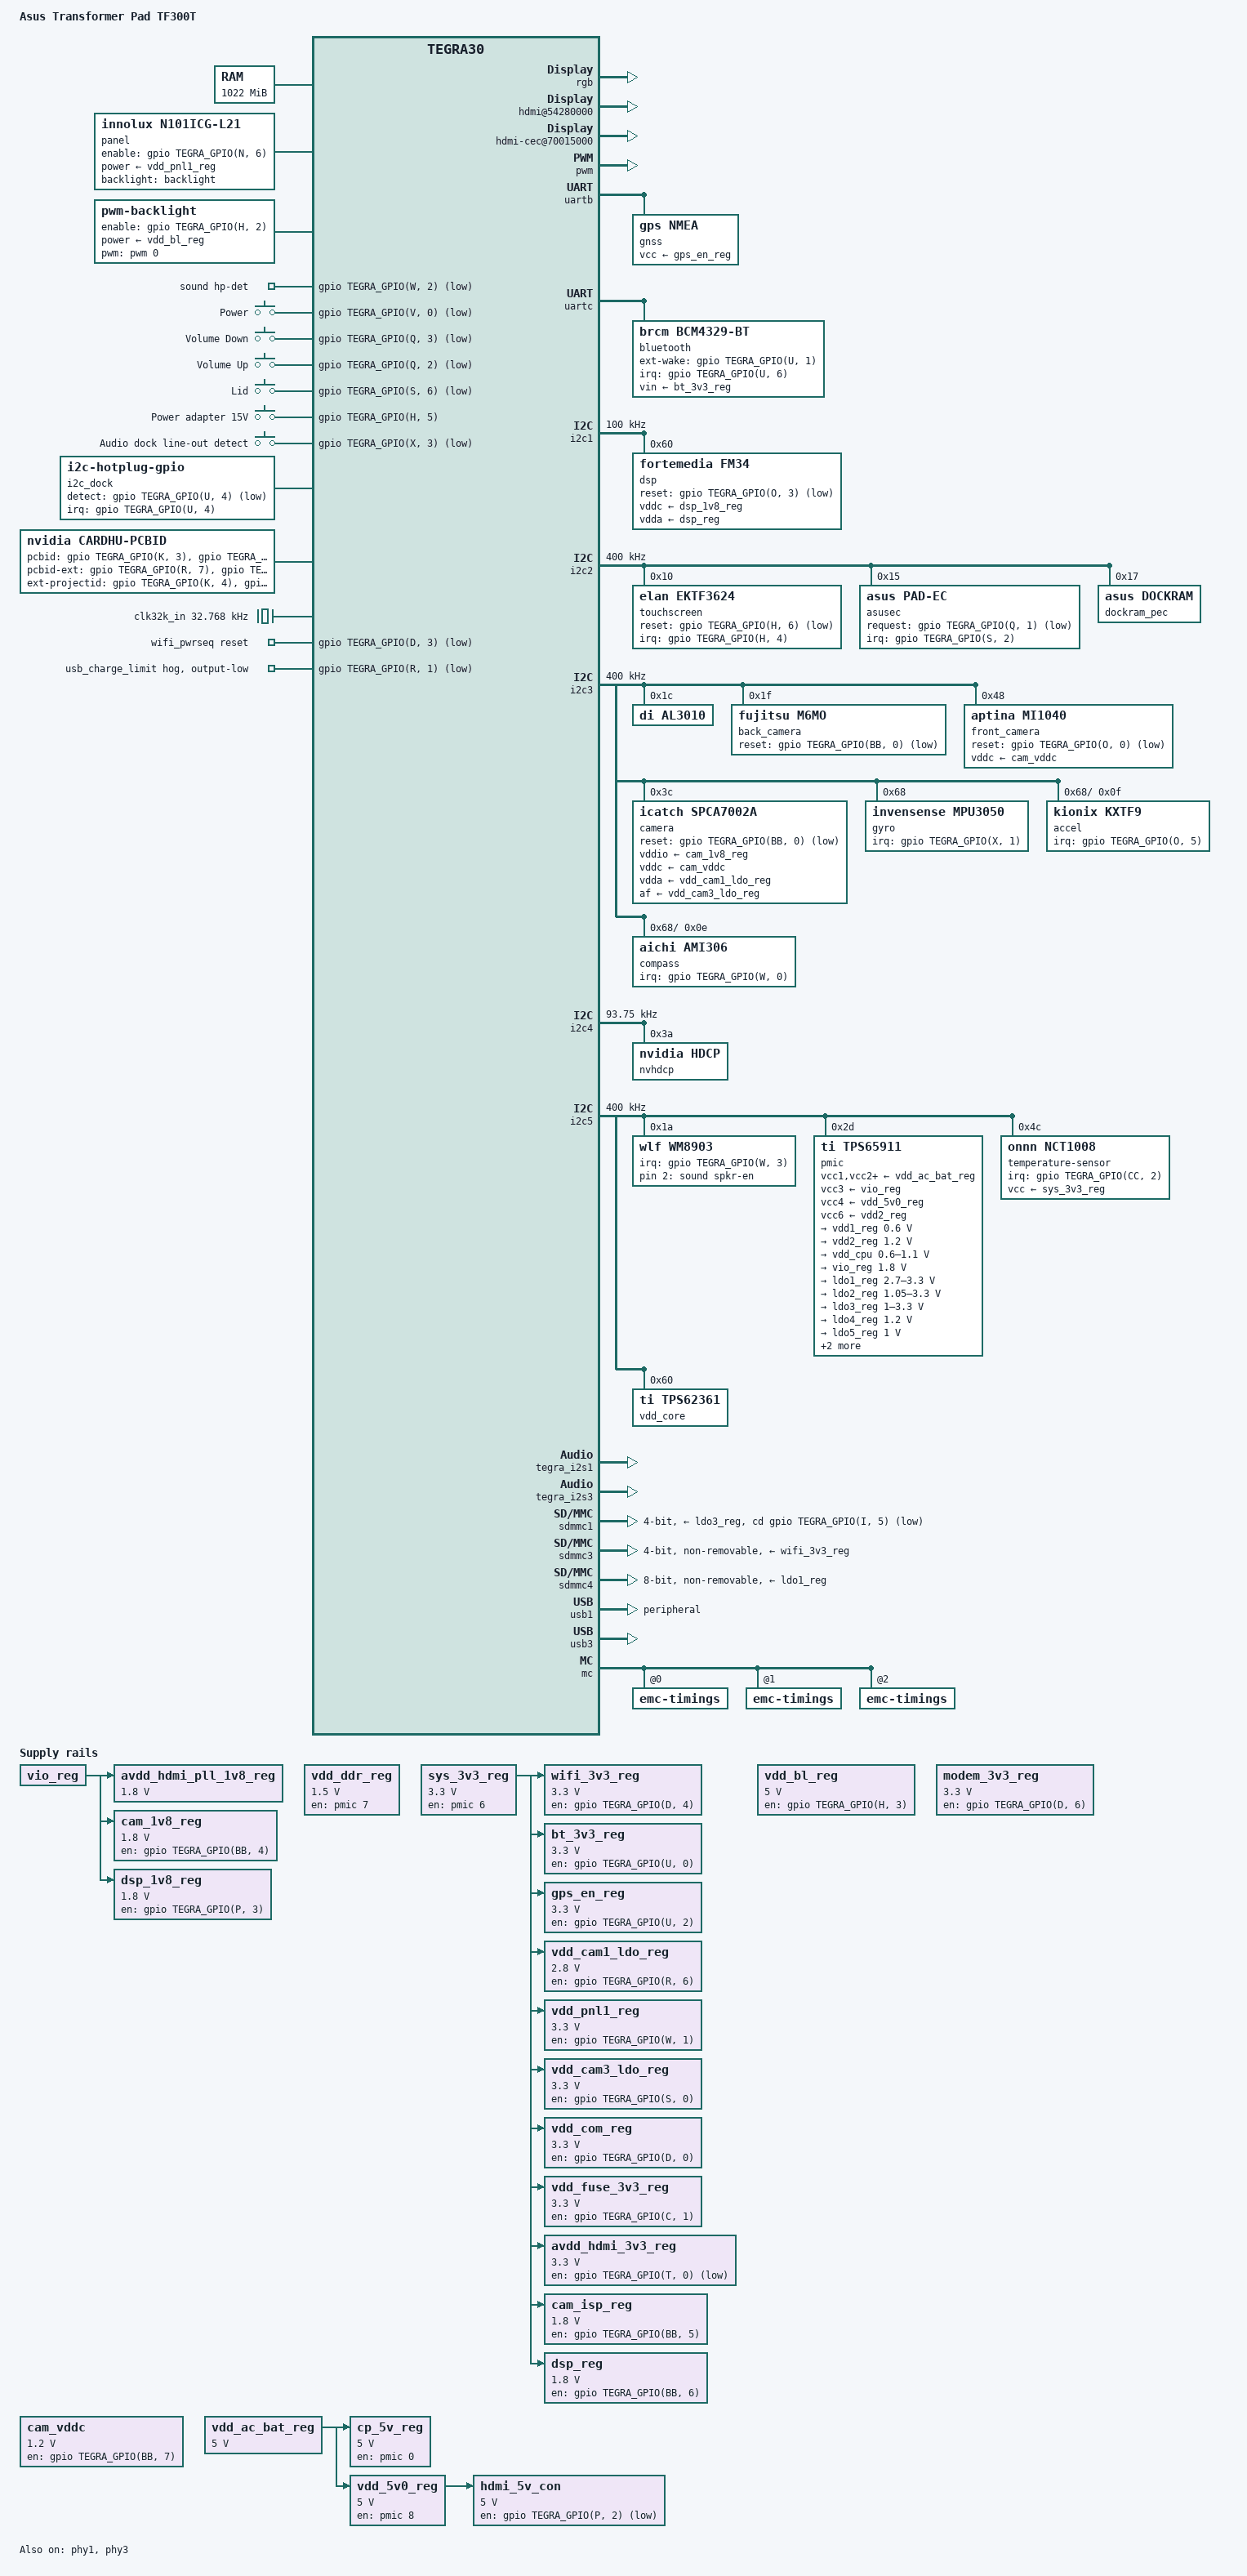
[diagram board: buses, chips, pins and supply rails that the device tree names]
/dts-v1/;

/* This dts file describes the Asus Transformer Pad TF300T tablet */
/* CPU-speedo 5, CPU-process 2, SoC-speedo 2, Core-process 0 */

#include <dt-bindings/input/input.h>
#include "tegra30.dtsi"
#include "tegra30-cpu-opp-5-2.dtsi"

/ {
	model = "Asus Transformer Pad TF300T";
	compatible = "asus,tf300t", "nvidia,tegra30";

	aliases {
		rtc0 = &pmic;
		rtc1 = "/rtc@7000e000";
		display0 = &lcd;
		display1 = &hdmi;
		serial0 = &uartc;
		serial1 = &uartb;
		mmc0 = &sdmmc4;	/* eMMC */
		mmc1 = &sdmmc1; /* uSD slot */
		mmc2 = &sdmmc3; /* WiFi */
	};

	chosen {
		#address-cells = <1>;
		#size-cells = <1>;
		ranges;

		bootargs = "tegra_wdt.heartbeat=30 androidboot.selinux=permissive androidboot.hardware=cardhu tegraid=30.1.3.0.0 commchip_id=0 androidboot.serialno=015d15b4da27f206 androidboot.commchip_id=0 no_console_suspend=1 usbcore.old_scheme_first=1 core_edp_mv=0 audio_codec=wm8903 board_info=245:0:1c:a7:29 tegraboot=sdmmc gpt gpt_sector=62078975 modem_id=0 android.kerneltype=normal androidboot.productid=0x02 androidboot.carrier=wifi-only";
		stdout-path = "display0";

		framebuffer@abc01000 {
			compatible = "simple-framebuffer";
			reg = <0xabc01000 0x3e8a00>;
			width = <1280>;
			height = <800>;
			stride = <2560>;
			format = "r5g6b5";
			display = <&lcd>;
			clocks = <&tegra_car TEGRA30_CLK_DISP1>,
				 <&tegra_car TEGRA30_CLK_PWM>;
			panel-supply = <&vdd_pnl1_reg>;
			backlight-supply = <&vdd_bl_reg>;
		};
	};

	memory@80000000 {
		// last 2MB reserved by TF firmware
		reg = <0x80000000 0x3fe00000>;
	};

	firmware {
		trusted-foundations {
			compatible = "tlm,trusted-foundations";
			tlm,version-major = <2>;
			tlm,version-minor = <8>;
		};
	};

	reserved-memory {
		#address-cells = <1>;
		#size-cells = <1>;
		ranges;

		framebuffer@abc01000 {
			reg = <0xabc01000 0x3e9000>;
			no-map;
		};

		ramconsole@beb00000 {
			compatible = "ramoops";
			reg = <0xbeb00000 0x100000>;
			record-size = <0x00020000>;
			console-size = <0x00040000>;
			ftrace-size = <0x00040000>;
			ecc-size = <16>;
		};

		lp0_vec@bddf9000 {
			reg = <0xbddf9000 0x2000>;	// passed from bootloader (ATAGS/NVIDIA, cmdline)
		};
/*
		reserved@bddf6000 {
			reg = <0xbddf6000 0x2000>;	// passed from bootloader (ATAGS/NVIDIA)
		};
*/	};

	panel: panel {
		compatible = "innolux,n101icg-l21", "innolux,g101ice-l01", "simple-panel";

		power-supply = <&vdd_pnl1_reg>;
		enable-gpios = <&gpio TEGRA_GPIO(N, 6) GPIO_ACTIVE_HIGH>;

		backlight = <&backlight>;
	};

	backlight: backlight {
		compatible = "pwm-backlight";

		enable-gpios = <&gpio TEGRA_GPIO(H, 2) GPIO_ACTIVE_HIGH>;
		power-supply = <&vdd_bl_reg>;
		pwms = <&pwm 0 5000000>;

		brightness-levels = <2 4 8 16 32 64 128 255>;
		default-brightness-level = <6>;
	};

	sound {
		compatible = "asus,tf300t-audio",
			     "nvidia,tegra-audio-wm8903";
		nvidia,model = "ASUS TF300T";

		nvidia,audio-routing =
			"Headphone Jack", "HPOUTR",
			"Headphone Jack", "HPOUTL",
			"Int Spk", "ROP",
			"Int Spk", "RON",
			"Int Spk", "LOP",
			"Int Spk", "LON",
			"Mic Jack", "MICBIAS",
			"IN1L", "Mic Jack";

		nvidia,i2s-controller = <&tegra_i2s1>;
		nvidia,audio-codec = <&wm8903>;

		// speaker power: vdd_5v0_reg
		nvidia,spkr-en-gpios = <&wm8903 2 GPIO_ACTIVE_HIGH>;
		nvidia,hp-det-gpios = <&gpio TEGRA_GPIO(W, 2) GPIO_ACTIVE_LOW>;	// h2w_detect, in, hi

		clocks = <&tegra_car TEGRA30_CLK_PLL_A>,
			 <&tegra_car TEGRA30_CLK_PLL_A_OUT0>,
			 <&tegra_car TEGRA30_CLK_EXTERN1>;
		clock-names = "pll_a", "pll_a_out0", "mclk";
	};

	pad-buttons {
		compatible = "gpio-keys";

		power {
			label = "Power";
			gpios = <&gpio TEGRA_GPIO(V, 0) GPIO_ACTIVE_LOW>;	// KEY_POWER, in, hi
			interrupt-parent = <&gpio>;
			interrupts = <TEGRA_GPIO(V, 0) IRQ_TYPE_EDGE_BOTH>;
			linux,code = <KEY_POWER>;
			debounce-interval = <10>;
			wakeup-source;
		};

		volume-down {
			label = "Volume Down";
			gpios = <&gpio TEGRA_GPIO(Q, 3) GPIO_ACTIVE_LOW>;	// KEY_VOLUMEDOWN, in, hi
			interrupt-parent = <&gpio>;
			interrupts = <TEGRA_GPIO(Q, 3) IRQ_TYPE_EDGE_BOTH>;
			linux,code = <KEY_VOLUMEDOWN>;
			debounce-interval = <10>;
			wakeup-source;
		};

		volume-up {
			label = "Volume Up";
			gpios = <&gpio TEGRA_GPIO(Q, 2) GPIO_ACTIVE_LOW>;	// KEY_VOLUMEUP, in, hi
			interrupt-parent = <&gpio>;
			interrupts = <TEGRA_GPIO(Q, 2) IRQ_TYPE_EDGE_BOTH>;
			linux,code = <KEY_VOLUMEUP>;
			debounce-interval = <10>;
			wakeup-source;
		};
	};

	extcon-keys {
		compatible = "gpio-keys";

		dock-hall-sensor {
			label = "Lid";
			gpios = <&gpio TEGRA_GPIO(S, 6) GPIO_ACTIVE_LOW>;	// asusdec_hall_sensor, in, hi [open]
			interrupt-parent = <&gpio>;
			interrupts = <TEGRA_GPIO(S, 6) IRQ_TYPE_EDGE_BOTH>;
			linux,input-type = <EV_SW>;
			linux,code = <SW_LID>;
			debounce-interval = <10>;
			wakeup-source;
		};

		ac-15v {
			label = "Power adapter 15V";
			gpios = <&gpio TEGRA_GPIO(H, 5) GPIO_ACTIVE_HIGH>;	// LIMIT_SET1, in, lo [usb: pc]
			interrupt-parent = <&gpio>;
			interrupts = <TEGRA_GPIO(H, 5) IRQ_TYPE_EDGE_BOTH>;
			linux,input-type = <EV_SW>;
			linux,code = <SW_DOCK>;
			debounce-interval = <10>;
			wakeup-source;
		};

		lineout-detect {
			label = "Audio dock line-out detect";
			gpios = <&gpio TEGRA_GPIO(X, 3) GPIO_ACTIVE_LOW>;	// lineout_int, in, hi
			interrupt-parent = <&gpio>;
			interrupts = <TEGRA_GPIO(X, 3) IRQ_TYPE_EDGE_BOTH>;
			linux,input-type = <EV_SW>;
			linux,code = <SW_LINEOUT_INSERT>;
			debounce-interval = <10>;
			wakeup-source;
		};
	};

	i2c_dock: dock-i2c {
		compatible = "i2c-hotplug-gpio";
		#address-cells = <1>;
		#size-cells = <0>;
		interrupt-parent = <&gpio>;
		interrupts = <TEGRA_GPIO(U, 4) IRQ_TYPE_EDGE_BOTH>;
		detect-gpio = <&gpio TEGRA_GPIO(U, 4) GPIO_ACTIVE_LOW>;		// asusdec_dock_in, in, lo [in-dock]
		i2c-parent = <&i2c2>;
	};

        cardhu-pcbid {
		compatible = "nvidia,cardhu-pcbid";
		pcbid-gpios =
			<&gpio TEGRA_GPIO(K, 3) GPIO_ACTIVE_HIGH>,
			<&gpio TEGRA_GPIO(J, 2) GPIO_ACTIVE_HIGH>,
			<&gpio TEGRA_GPIO(J, 0) GPIO_ACTIVE_HIGH>,
			<&gpio TEGRA_GPIO(Q, 5) GPIO_ACTIVE_HIGH>,
			<&gpio TEGRA_GPIO(R, 2) GPIO_ACTIVE_HIGH>,
			<&gpio TEGRA_GPIO(Q, 7) GPIO_ACTIVE_HIGH>,
			<&gpio TEGRA_GPIO(Q, 4) GPIO_ACTIVE_HIGH>,
			<&gpio TEGRA_GPIO(R, 5) GPIO_ACTIVE_HIGH>,
			<&gpio TEGRA_GPIO(R, 4) GPIO_ACTIVE_HIGH>;
		pcbid-ext-gpios = // used only if pcbid[5:3] == 6
			<&gpio TEGRA_GPIO(R, 7) GPIO_ACTIVE_HIGH>,
			<&gpio TEGRA_GPIO(B, 0) GPIO_ACTIVE_HIGH>,
			<&gpio TEGRA_GPIO(J, 7) GPIO_ACTIVE_HIGH>,
			<&gpio TEGRA_GPIO(C, 7) GPIO_ACTIVE_HIGH>;
		ext-projectid-gpios = // used only if pcbid[5:3] == 6
			<&gpio TEGRA_GPIO(K, 4) GPIO_ACTIVE_HIGH>,
			<&gpio TEGRA_GPIO(I, 7) GPIO_ACTIVE_HIGH>,
			<&gpio TEGRA_GPIO(I, 3) GPIO_ACTIVE_HIGH>,
			<&gpio TEGRA_GPIO(K, 2) GPIO_ACTIVE_HIGH>;
	};

	clocks {
		compatible = "simple-bus";
		#address-cells = <1>;
		#size-cells = <0>;

		clk32k_in: clock@0 {
			compatible = "fixed-clock";
			reg = <0>;
			#clock-cells = <0>;
			clock-frequency = <32768>;
		};

		// TODO: extern1 <- pll_p_out1 <- pll_a [12288 kHz]
		// TODO: clk_out2 <- clk_m [26 MHz]
	};

	host1x@50000000 {
		lcd: dc@54200000 {
			rgb {
				status = "okay";
				nvidia,panel = <&panel>;
			};
		};

		hdmi: dc@54240000 {
		};

		hdmi@54280000 {
			status = "okay";
			hdmi-supply = <&hdmi_5v_con>;
			pll-supply = <&avdd_hdmi_pll_1v8_reg>;
			vdd-supply = <&avdd_hdmi_3v3_reg>;

			nvidia,hpd-gpio = <&gpio TEGRA_GPIO(N, 7) GPIO_ACTIVE_HIGH>;	// hdmi_hpd, in, lo
			nvidia,ddc-i2c-bus = <&hdmi_ddc>;
		};
	};

	pmc@7000e400 {
		status = "okay";
		nvidia,invert-interrupt;
		nvidia,suspend-mode = <0>;
		nvidia,cpu-pwr-good-time = <2000>;
		nvidia,cpu-pwr-off-time = <200>;
		nvidia,core-pwr-good-time = <3845 3845>;
		nvidia,core-pwr-off-time = <0>;
		nvidia,core-power-req-active-high;
		nvidia,sys-clock-req-active-high;
		nvidia,lp0-vec = <0xbddf9000 8192>;	// passed by bootloader

		i2c-thermtrip {
			nvidia,i2c-controller-id = <4>;	// i2c5
			nvidia,bus-addr = <0x2d>;	// tps65911
			nvidia,reg-addr = <0x3f>;	// DEVCTRL
			nvidia,reg-data = <0x81>;	// PWR_OFF_SET + DEV_OFF
		};
	};

	hdmi-cec@70015000 {
		status = "okay";
	};

	hda@70030000 {
		status = "okay";
	};

	regulators {
		compatible = "simple-bus";
		#address-cells = <1>;
		#size-cells = <0>;

		cp_5v_reg: regulator@0 {	// -> vdd_5v0_sby, vdd_hall, vterm_ddr, v2ref_ddr
			compatible = "regulator-fixed";
			reg = <0>;
			regulator-name = "cp_5v";
			regulator-min-microvolt = <5000000>;
			regulator-max-microvolt = <5000000>;
			regulator-always-on;
			regulator-boot-on;
			enable-active-high;
			gpio = <&pmic 0 GPIO_ACTIVE_HIGH>;
			vin-supply = <&vdd_ac_bat_reg>;
		};

		vdd_5v0_reg: regulator@1 {	// -> vdd_5v0_sys
			compatible = "regulator-fixed";
			reg = <1>;
			regulator-name = "5v0";
			regulator-min-microvolt = <5000000>;
			regulator-max-microvolt = <5000000>;
			regulator-always-on;
			regulator-boot-on;
			enable-active-high;
			gpio = <&pmic 8 GPIO_ACTIVE_HIGH>;	// Cardhu-A04+; PM269
			vin-supply = <&vdd_ac_bat_reg>;
		};

		wifi_3v3_reg: regulator@21 {
			compatible = "regulator-fixed";
			reg = <21>;
			regulator-name = "wifi_3v3";
			regulator-min-microvolt = <3300000>;
			regulator-max-microvolt = <3300000>;
			enable-active-high;
			gpio = <&gpio TEGRA_GPIO(D, 4) GPIO_ACTIVE_HIGH>;	// wlan_power, out, lo [wifi-off]
			vin-supply = <&sys_3v3_reg>;
		};

		bt_3v3_reg: regulator@22 {
			compatible = "regulator-fixed";
			reg = <22>;
			regulator-name = "bt_3v3";
			regulator-min-microvolt = <3300000>;
			regulator-max-microvolt = <3300000>;
			enable-active-high;
			gpio = <&gpio TEGRA_GPIO(U, 0) GPIO_ACTIVE_HIGH>;	// bcm4329_nshutdown_gp, out, lo [bt-off]
			vin-supply = <&sys_3v3_reg>;
		};

		gps_en_reg: regulator@23 {
			compatible = "regulator-fixed";
			reg = <23>;
			regulator-name = "gps_en";
			regulator-min-microvolt = <3300000>;
			regulator-max-microvolt = <3300000>;
			enable-active-high;
			gpio = <&gpio TEGRA_GPIO(U, 2) GPIO_ACTIVE_HIGH>;	// gpsconfig.xml: gpioNStdby
			vin-supply = <&sys_3v3_reg>;
		};

		vdd_cam1_ldo_reg: regulator@18 {
			compatible = "regulator-fixed";
			reg = <18>;
			regulator-name = "vdd_cam1_ldo";
			regulator-min-microvolt = <2800000>;
			regulator-max-microvolt = <2800000>;
			enable-active-high;
			gpio = <&gpio TEGRA_GPIO(R, 6) GPIO_ACTIVE_HIGH>;	// fixed_reg_cam1_ldo_e, out, lo
			vin-supply = <&sys_3v3_reg>;
		};

		vdd_ddr_reg: regulator@2 {
			compatible = "regulator-fixed";
			reg = <2>;
			regulator-name = "vdd_ddr";
			regulator-min-microvolt = <1500000>;
			regulator-max-microvolt = <1500000>;
			regulator-always-on;
			regulator-boot-on;
			enable-active-high;
			gpio = <&pmic 7 GPIO_ACTIVE_HIGH>;	// Cardhu-A04+, PM269
			// vin-supply = null?
		};

		sys_3v3_reg: regulator@3 {	// -> mem_vddio_ddr, t30_vddio_ddr
			compatible = "regulator-fixed";
			reg = <3>;
			regulator-name = "sys_3v3";
			regulator-min-microvolt = <3300000>;
			regulator-max-microvolt = <3300000>;
			regulator-always-on;
			regulator-boot-on;
			enable-active-high;
			gpio = <&pmic 6 GPIO_ACTIVE_HIGH>;	// Cardhu-A04+, PM269
		};

		vdd_bl_reg: regulator@4 {
			compatible = "regulator-fixed";
			reg = <4>;
			regulator-name = "vdd_bl";
			regulator-min-microvolt = <5000000>;
			regulator-max-microvolt = <5000000>;
			regulator-boot-on;
			enable-active-high;
				// OD? o=1 i=0 ?
			gpio = <&gpio TEGRA_GPIO(H, 3) GPIO_ACTIVE_HIGH>;	// fixed_reg_en_vdd_bl, PM269
//			vin-supply = <&vdd_5v0_reg>; // =null?
		};

		modem_3v3_reg: regulator@5 {
			compatible = "regulator-fixed";
			reg = <5>;
			regulator-name = "modem_3v3";
			regulator-min-microvolt = <3300000>;
			regulator-max-microvolt = <3300000>;
			enable-active-high;
			gpio = <&gpio TEGRA_GPIO(D, 6) GPIO_ACTIVE_HIGH>;
//			vin-supply = <&sys_3v3_reg>; // = null?
		};

		vdd_pnl1_reg: regulator@6 {
			compatible = "regulator-fixed";
			reg = <6>;
			regulator-name = "vdd_pnl1";
			regulator-min-microvolt = <3300000>;
			regulator-max-microvolt = <3300000>;
			regulator-boot-on;
			enable-active-high;
			gpio = <&gpio TEGRA_GPIO(W, 1) GPIO_ACTIVE_HIGH>;	// fixed_reg_en_vdd_pnl, out, hi; PM269
			vin-supply = <&sys_3v3_reg>;
		};

		vdd_cam3_ldo_reg: regulator@7 {
			compatible = "regulator-fixed";
			reg = <7>;
			regulator-name = "vdd_cam3_ldo";
			regulator-min-microvolt = <3300000>;
			regulator-max-microvolt = <3300000>;
			enable-active-high;
			gpio = <&gpio TEGRA_GPIO(S, 0) GPIO_ACTIVE_HIGH>;	// fixed_reg_cam3_ldo_e, out, lo
			vin-supply = <&sys_3v3_reg>;
		};

		vdd_com_reg: regulator@8 {
			compatible = "regulator-fixed";
			reg = <8>;
			regulator-name = "vdd_com";
			regulator-min-microvolt = <3300000>;
			regulator-max-microvolt = <3300000>;
			enable-active-high;
			gpio = <&gpio TEGRA_GPIO(D, 0) GPIO_ACTIVE_HIGH>;
			vin-supply = <&sys_3v3_reg>;
		};

		vdd_fuse_3v3_reg: regulator@9 {
			compatible = "regulator-fixed";
			reg = <9>;
			regulator-name = "vdd_fuse_3v3";
			regulator-min-microvolt = <3300000>;
			regulator-max-microvolt = <3300000>;
			enable-active-high;
			gpio = <&gpio TEGRA_GPIO(C, 1) GPIO_ACTIVE_HIGH>;	// PM269
			vin-supply = <&sys_3v3_reg>;
		};

		cam_vddc: regulator@100 {
			compatible = "regulator-fixed";
			reg = <100>;
			regulator-name = "icatch7002a_vddc";
			regulator-min-microvolt = <1200000>;
			regulator-max-microvolt = <1200000>;
			enable-active-high;
			gpio = <&gpio TEGRA_GPIO(BB, 7) GPIO_ACTIVE_HIGH>;	// cam_vddc_ldo_en, out, lo
			// vin-supply = vdd2?
		};

		hdmi_5v_con: regulator@101 {
			compatible = "regulator-fixed";
			reg = <101>;
			regulator-name = "hdmi_con_5v";
			regulator-min-microvolt = <5000000>;
			regulator-max-microvolt = <5000000>;
			gpio = <&gpio TEGRA_GPIO(P, 2) GPIO_ACTIVE_HIGH>;	// hdmi_5v_en, out, hi
			vin-supply = <&vdd_5v0_reg>;
		};

		avdd_hdmi_pll_1v8_reg: regulator@102 {
			compatible = "regulator-fixed";
			reg = <102>;
			regulator-name = "avdd_hdmi_pll";
			regulator-min-microvolt = <1800000>;
			regulator-max-microvolt = <1800000>;
			// gpio = ?
			vin-supply = <&vio_reg>;
		};

		avdd_hdmi_3v3_reg: regulator@103 {
			compatible = "regulator-fixed";
			reg = <103>;
			regulator-name = "avdd_hdmi";
			regulator-min-microvolt = <3300000>;
			regulator-max-microvolt = <3300000>;
			gpio-open-drain;
			gpio = <&gpio TEGRA_GPIO(T, 0) GPIO_ACTIVE_HIGH>;	// o=0 i=1???
			vin-supply = <&sys_3v3_reg>;
		};

		cam_1v8_reg: regulator@104 {
			compatible = "regulator-fixed";
			reg = <104>;
			regulator-name = "cam_1v8";
			regulator-min-microvolt = <1800000>;
			regulator-max-microvolt = <1800000>;
			enable-active-high;
			gpio = <&gpio TEGRA_GPIO(BB, 4) GPIO_ACTIVE_HIGH>;	// cam_vddio_ldo_en, out, lo
			vin-supply = <&vio_reg>;
		};

		vdd_ac_bat_reg: regulator@107 {
			compatible = "regulator-fixed";
			reg = <107>;
			regulator-name = "vdd_ac_bat";
			regulator-min-microvolt = <5000000>;
			regulator-max-microvolt = <5000000>;
			regulator-boot-on;
			regulator-always-on;
		};

		dsp_1v8_reg: regulator@108 {	// xxx: eMMC?
			compatible = "regulator-fixed";
			reg = <108>;
			regulator-name = "dsp_1v8";
			regulator-min-microvolt = <1800000>;
			regulator-max-microvolt = <1800000>;
			enable-active-high;
			gpio = <&gpio TEGRA_GPIO(P, 3) GPIO_ACTIVE_HIGH>;	// dsp_power_1v8_en, out, hi
			vin-supply = <&vio_reg>;
		};

		cam_isp_reg: regulator@109 {
			compatible = "regulator-fixed";
			reg = <109>;
			regulator-name = "isp_power";
			regulator-min-microvolt = <1800000>;
			regulator-max-microvolt = <1800000>;
			enable-active-high;
			gpio = <&gpio TEGRA_GPIO(BB, 5) GPIO_ACTIVE_HIGH>;	// cam_power_dwn, out, lo
			vin-supply = <&sys_3v3_reg>;
		};

		dsp_reg: regulator@110 {
			compatible = "regulator-fixed";
			reg = <110>;
			regulator-name = "dsp_power";
			regulator-min-microvolt = <1800000>;
			regulator-max-microvolt = <1800000>;
			enable-active-high;
			gpio = <&gpio TEGRA_GPIO(BB, 6) GPIO_ACTIVE_HIGH>;	// fm34_pwdn, out, lo
			vin-supply = <&sys_3v3_reg>;
		};
	};
};

&pwm {
	status = "okay";
};

&uartb {
	compatible = "nvidia,tegra30-hsuart", "nvidia,tegra20-hsuart";
	status = "okay";

	gnss {
		compatible = "gps,nmea";
		vcc-supply = <&gps_en_reg>;
	};
};

&uartc {
	compatible = "nvidia,tegra30-hsuart", "nvidia,tegra20-hsuart";
	status = "okay";

	bluetooth {
		compatible = "brcm,bcm4329-bt";
		vin-supply = <&bt_3v3_reg>;
		interrupt-parent = <&gpio>;
		interrupts = <TEGRA_GPIO(U, 6) IRQ_TYPE_EDGE_RISING>;		// bt_host_wake, in, lo
		ext-wake-gpios = <&gpio TEGRA_GPIO(U, 1) GPIO_ACTIVE_HIGH>;	// bt_ext_wake, out, lo [open-drain?]
	};
};

&gpio {
	// gpios = <&gpio TEGRA_GPIO(G, 4) GPIO_ACTIVE_HIGH>;	// memory_bootstrap_ad4, in, hi
	// gpios = <&gpio TEGRA_GPIO(G, 5) GPIO_ACTIVE_LOW>;	// memory_bootstrap_ad5, in, lo
		//    0 0 = TF300T_Elpida_1GB_667MHZ
		// ** 1 0 = TF300T_Hynix_1GB_667MHZ
		//    0 1 = TF300T_Micron_1GB_667MHZ

	// X, 2 -> skąd out, hi? analogicznie K, 3 - domyślne?

	usb_charge_limit {
		gpio-hog;
		gpios = <TEGRA_GPIO(R, 1) GPIO_ACTIVE_LOW>;	// LIMIT_SET0, out, lo; @tegra_udc.LIMIT_PWR [0 = 0.5A, 1 = 1A]
		output-low;
	};
};

&i2c1 {
	status = "okay";
	clock-frequency = <100000>;

	dsp@60 {
		compatible = "fortemedia,fm34";
		reg = <0x60>;
		vddc-supply = <&dsp_1v8_reg>;
		vdda-supply = <&dsp_reg>;		// fm34_pwdn
		reset-gpios = <&gpio TEGRA_GPIO(O, 3) GPIO_ACTIVE_LOW>;		// fm34_reset, out, hi
	};
};

&i2c2 {
	status = "okay";
	clock-frequency = <400000>;

	// resp@0, @8

	touchscreen@10 {
		compatible = "elan,ektf3624", "elan,ekth3500";	// HV: ekth1036
		reg = <0x10>;
		interrupt-parent = <&gpio>;
		interrupts = <TEGRA_GPIO(H, 4) IRQ_TYPE_LEVEL_LOW>;	// touch_irq, in, hi
		reset-gpios = <&gpio TEGRA_GPIO(H, 6) GPIO_ACTIVE_LOW>;	// touch_reset, out, hi
		wakeup-source;
		touchscreen-size-x = <2240>;
		touchscreen-size-y = <1408>;
		touchscreen-inverted-y;
	};

	asusec@15 {
		compatible = "asus,pad-ec", "asus,ec";
		reg = <0x15>;
		interrupt-parent = <&gpio>;
		interrupts = <TEGRA_GPIO(S, 2) IRQ_TYPE_LEVEL_LOW>;		// asuspec_apwake, in, hi
		request-gpio = <&gpio TEGRA_GPIO(Q, 1) GPIO_ACTIVE_LOW>;	// asuspec_request, out, hi
		asus,dockram = <&dockram_pec>;

		pad_battery: battery {
//			power-supplies = <&dock_battery>;
			charge-full-design = <2940>;	/* mAh */
			non-removable;
		};
	};

	dockram_pec: dockram@17 {
		compatible = "asus,dockram";
		reg = <0x17>;
	};
};

&i2c_dock {
	asusec@19 {
		compatible = "asus,dock-ec", "asus,ec";
		reg = <0x19>;
		interrupt-parent = <&gpio>;
		interrupts = <TEGRA_GPIO(S, 7) IRQ_TYPE_LEVEL_LOW>;		// asusdec_input, in, hi
		request-gpio = <&gpio TEGRA_GPIO(Q, 6) GPIO_ACTIVE_LOW>;	// asusdec_request, out, hi
		asus,dockram = <&dockram_dec>;

		dock_battery: battery {
			charge-full-design = <2260>;	/* mAh */
		};
	};

	dockram_dec: dockram@1b {
		compatible = "asus,dockram";
		reg = <0x1b>;
	};
};

&i2c3 {
	status = "okay";
	clock-frequency = <400000>;

	al3010@1c {
		compatible = "di,al3010";
		reg = <0x1c>;
	};

	back_camera: camera@1f {
		compatible = "fujitsu,m6mo";
		reg = <0x1f>;

		reset-gpios = <&gpio TEGRA_GPIO(BB, 0) GPIO_ACTIVE_LOW>; // cam_sensor_rst_lo, out, lo
	};

	front_camera: camera@48 {
		compatible = "aptina,mi1040", "onsemi,mt9d115";
		reg = <0x48>;

		clocks = <>; //<&tegra_car TEGRA30_CLK_PLL_A>; CAM_MCLK
		clock-names = "extclk";

		vddio-suppy = <&cam_1v8_reg>;
		vdda-suppy = <&vdd_cam3_ldo_reg>;	// 2.85V?
		vddc-supply = <&cam_vddc>;		// PWR_DN

		reset-gpios = <&gpio TEGRA_GPIO(O, 0) GPIO_ACTIVE_LOW>;
	};

	camera: isp@3c {
		compatible = "icatch,spca7002a";
		reg = <0x3c>;

		// pinmux - CAM_MCLK 
		sensors = <&back_camera &front_camera>;
		sensor-names = "back", "front";

		vddio-supply = <&cam_1v8_reg>;
		vddc-supply = <&cam_vddc>;
		vdda-supply = <&vdd_cam1_ldo_reg>;
		af-supply = <&vdd_cam3_ldo_reg>;	// 2v85? [@ GPIO_PR7 -> modem_en (usb_hsic)?]
		power-supply = <&cam_isp_reg>;		// cam_power_dwn

		reset-gpios = <&gpio TEGRA_GPIO(BB, 0) GPIO_ACTIVE_LOW>;	// == cam_rst?
	};

	gyro@68 {
		compatible = "invensense,mpu3050";
		reg = <0x68>;
		interrupt-parent = <&gpio>;
		interrupts = <TEGRA_GPIO(X, 1) IRQ_TYPE_EDGE_RISING>;	// mpu3050, in, lo
		mount-matrix = "-1", "0", "0", "0", "1", "0", "0", "0", "-1";
		accel-slave = <&accel>;
		compass-slave = <&compass>;

		i2c-gate {
			#address-cells = <1>;
			#size-cells = <0>;

			accel: accel@0f {
				compatible = "kionix,kxtf9";
				reg = <0x0f>;
				interrupt-parent = <&gpio>;
				interrupts = <TEGRA_GPIO(O, 5) IRQ_TYPE_EDGE_RISING>;	// kxtf9, in, lo
				mount-matrix = "0", "1", "0", "1", "0", "0", "0", "0", "-1";
			};

			compass: compass@0e {
				compatible = "aichi,ami306";
				reg = <0x0e>;
				interrupt-parent = <&gpio>;
				interrupts = <TEGRA_GPIO(W, 0) IRQ_TYPE_EDGE_RISING>;	// compassirq
				mount-matrix = "0", "-1", "0", "-1", "0", "0", "0", "0", "-1";
			};
		};
	};
};

hdmi_ddc: &i2c4 {
	status = "okay";
	clock-frequency = <93750>;

	nvhdcp@3a {
		compatible = "nvidia,hdcp";
		reg = <0x3a>;
	};
};

/*
		interrupt-parent = <&gpio>;
		interrupts = <TEGRA_GPIO(S, 5) IRQ_TYPE_EDGE_BOTH>,	// dock_charging, in, lo
			     <TEGRA_GPIO(S, 4) IRQ_TYPE_EDGE_BOTH>;	// low_battery_detect, in, lo
			     <TEGRA_GPIO(N, 4) IRQ_TYPE_EDGE_BOTH>;	// battery_detect, in, lo
		interrupt-names = "dock-charging", "low", "detect";
*/
&i2c5 {
	status = "okay";
	clock-frequency = <400000>;

	wm8903: wm8903@1a {
		compatible = "wlf,wm8903";
		reg = <0x1a>;
		interrupt-parent = <&gpio>;
		interrupts = <TEGRA_GPIO(W, 3) IRQ_TYPE_LEVEL_LOW>;	// wm8903, in, lo

		gpio-controller;
		#gpio-cells = <2>;

		micdet-cfg = <0>;
		micdet-delay = <100>;
		gpio-cfg = <0xffffffff 0xffffffff 0 0xffffffff 0xffffffff>;
	};

	pmic: tps65911@2d {
		compatible = "ti,tps65911";
		reg = <0x2d>;

		interrupts = <GIC_SPI 86 IRQ_TYPE_LEVEL_HIGH>;
		#interrupt-cells = <2>;
		interrupt-controller;

		ti,system-power-controller;
		ti,sleep-enable;
		ti,sleep-keep-ck32k;
		ti,en-gpio-sleep = <0 0 1 0 0 0 0 0 0>;

		#gpio-cells = <2>;
		gpio-controller;

		vcc1-supply = <&vdd_ac_bat_reg>;	// vdd1
		vcc2-supply = <&vdd_ac_bat_reg>;	// vdd2
		vcc3-supply = <&vio_reg>;		// ldo6, ldo7, ldo8
		vcc4-supply = <&vdd_5v0_reg>;		// ldo5
		vcc5-supply = <&vdd_ac_bat_reg>;	// ldo3, ldo4
		vcc6-supply = <&vdd2_reg>;		// ldo1, ldo2
		vcc7-supply = <&vdd_ac_bat_reg>;	// vrtc
		vccio-supply = <&vdd_ac_bat_reg>;	// vio

		sleep_out {
			gpio-hog;
			gpios = <2 GPIO_ACTIVE_HIGH>;
			output-high;
		};

		regulators {
			vdd1_reg: vdd1 {	// -> en_vddio_ddr_1v2
//					regulator-name = "vddio_ddr";
				regulator-min-microvolt = <600000>;
				regulator-max-microvolt = <600000>;
				regulator-always-on;
				ti,regulator-ext-sleep-control = <8>;	// EXT_CTRL_SLEEP_OFF?
			};

			vdd2_reg: vdd2 {	// -> vdd_gen1v5, vcore_lcd, track_ldo1, external_ldo_1v2, vcore_cam1, vcore_cam2
//					regulator-name = "vdd_1v2_gen";		// [0.6-1.5V]
				regulator-min-microvolt = <1200000>;
				regulator-max-microvolt = <1200000>;
				regulator-always-on;
			};

			vdd_cpu: vddctrl {	// -> vdd_cpu_pmu, vdd_cpu, vdd_sys
				regulator-name = "vdd_cpu";		// vdd_cpu [0.6-1.4V; =0.9 =0.8]
				regulator-min-microvolt = <600000>;
				regulator-max-microvolt = <1100000>;
				ti,regulator-ext-sleep-control = <1>;	// TPS65910_SLEEP_CONTROL_EXT_INPUT_EN1
				regulator-always-on;	// test
			};

			vio_reg: vio {		// -> avdd, ... 1v8
//					regulator-name = "vdd_1v8_gen";
				regulator-min-microvolt = <1800000>;
				regulator-max-microvolt = <1800000>;
				regulator-always-on;
			};

			// eMMC VDD
			ldo1_reg: ldo1 {
				regulator-name = "vdd_emmc";
				regulator-min-microvolt = <2700000>;
				regulator-max-microvolt = <3300000>;
				regulator-always-on;
			};

			// uSD slot VDD
			ldo2_reg: ldo2 {
				regulator-name = "vdd_usd";
				regulator-min-microvolt = <1050000>;
				regulator-max-microvolt = <3300000>;
			};

			// uSD slot VDDIO
			ldo3_reg: ldo3 {	// -> +pwrdet_sdmmc1
				regulator-name = "vddio_usd";
				regulator-min-microvolt = <1000000>;
				regulator-max-microvolt = <3300000>;
			};

			ldo4_reg: ldo4 {
				regulator-name = "vdd_rtc";
				regulator-min-microvolt = <1200000>;
				regulator-max-microvolt = <1200000>;
				regulator-always-on;
			};

			ldo5_reg: ldo5 {	// -> avdd_vdac
//					regulator-name = "vddio_sdmmc,avdd_vdac";	// disabled?
				regulator-min-microvolt = <1000000>;
				regulator-max-microvolt = <1000000>;
			};

			ldo6_reg: ldo6 {	// -> avdd_dsi_csi, pwrdet_mipi, vddio_hsic
				regulator-name = "avdd_dsi_csi,pwrdet_mipi";	// TODO
				regulator-min-microvolt = <1200000>;
				regulator-max-microvolt = <1200000>;
			};

			ldo7_reg: ldo7 {	// -> avdd_pll*
//					regulator-name = "vdd_pllm,x,u,a_p_c_s";
				regulator-min-microvolt = <1200000>;
				regulator-max-microvolt = <1200000>;
				regulator-always-on;
				ti,regulator-ext-sleep-control = <8>;	// EXT_CTRL_SLEEP_OFF?, LDO_LOW_POWER_ON_SUSPEND
			};

			ldo8_reg: ldo8 {
				regulator-name = "vdd_ddr_hs";
				regulator-min-microvolt = <1000000>;
				regulator-max-microvolt = <1000000>;	// =3v3
				regulator-always-on;
				ti,regulator-ext-sleep-control = <8>;	// EXT_CTRL_SLEEP_OFF?, LDO_LOW_POWER_ON_SUSPEND
			};
		};
	};

	temperature-sensor@4c {
		compatible = "onnn,nct1008";
		reg = <0x4c>;
		vcc-supply = <&sys_3v3_reg>;
		interrupt-parent = <&gpio>;
		interrupts = <TEGRA_GPIO(CC, 2) IRQ_TYPE_EDGE_FALLING>;	// temp_alert, in, hi	[LEVEL_LOW]
	};

	vdd_core: tps62361@60 {
		compatible = "ti,tps62361";
		reg = <0x60>;

		regulator-name = "vdd_core";
		regulator-min-microvolt = <1000000>;	// =0v5
		regulator-max-microvolt = <1350000>;	// =1v77
		regulator-boot-on;
		regulator-always-on;
		ti,enable-vout-discharge;
		ti,vsel0-state-high;
		ti,vsel1-state-high;
	};
};

/* WM8903 */
&tegra_i2s1 {
	status = "okay";
};

/* BT SCO */
&tegra_i2s3 {
	status = "okay";
};

/* uSD slot on left side */
&sdmmc1 {
	status = "okay";
	cd-gpios = <&gpio TEGRA_GPIO(I, 5) GPIO_ACTIVE_LOW>;	// sdhci_cd, in, lo [card in]
	bus-width = <4>;
	vmmc-supply = <&ldo3_reg>;
	vqmmc-supply = <&ldo2_reg>;
};

/* internal SDIO WiFi */
&sdmmc3 {
	status = "okay";
	bus-width = <4>;
	mmc-pwrseq = <&wifi_pwrseq>;
	vmmc-supply = <&wifi_3v3_reg>;
	keep-power-in-suspend;
	non-removable;
	no-sd;
	no-mmc;

	#address-cells = <1>;
	#size-cells = <0>;

	wifi: brcmf@0001 {
		reg = <1>;
		compatible = "brcm,bcm4329-fmac";
		interrupt-parent = <&gpio>;
		interrupts = <TEGRA_GPIO(O, 4) IRQ_TYPE_LEVEL_HIGH>;	// bcmsdh_sdmmc, in, lo
		interrupt-names = "host-wake";
	};
};

/ {
	wifi_pwrseq: pwrseq_wifi {
		compatible = "mmc-pwrseq-simple";
		reset-gpios = <&gpio TEGRA_GPIO(D, 3) GPIO_ACTIVE_LOW>;	// wlan_rst, out, lo [wifi-off]
		post-power-on-delay-ms = <100>;
	};
};

/* internal eMMC */
&sdmmc4 {
	status = "okay";
	bus-width = <8>;
//	mmc-pwrseq = <&emmc_pwrseq>;
	vmmc-supply = <&ldo1_reg>;
	non-removable;
	no-sd;
	no-sdio;
	full-pwr-cycle;
	nvidia,vqmmc-1v8;
	max-frequency = <16000000>;
};

/ {
	emmc_pwrseq: pwrseq_emmc {
		compatible = "mmc-pwrseq-emmc";
		reset-gpios = <&gpio TEGRA_GPIO(CC, 0) GPIO_ACTIVE_LOW>;
		status = "disabled";
	};
};

&pinmux {
	pinmux {
		sdmmc4_clk {
			nvidia,pins =	"sdmmc4_clk_pcc4",
					"sdmmc4_cmd_pt7";
			nvidia,function = "sdmmc4";
			nvidia,pull = <TEGRA_PIN_PULL_NONE>;
			nvidia,tristate = <TEGRA_PIN_DISABLE>;
			nvidia,enable-input = <TEGRA_PIN_ENABLE>;
		};
		sdmmc4_cmd {
			nvidia,pins =	"sdmmc4_dat0_paa0",
					"sdmmc4_dat1_paa1",
					"sdmmc4_dat2_paa2",
					"sdmmc4_dat3_paa3",
					"sdmmc4_dat4_paa4",
					"sdmmc4_dat5_paa5",
					"sdmmc4_dat6_paa6",
					"sdmmc4_dat7_paa7";
			nvidia,function = "sdmmc4";
			nvidia,pull = <TEGRA_PIN_PULL_UP>;
			nvidia,tristate = <TEGRA_PIN_DISABLE>;
			nvidia,enable-input = <TEGRA_PIN_ENABLE>;
		};
		sdmmc4_rst_n {
			nvidia,pins =   "sdmmc4_rst_n_pcc3";
			nvidia,function = "rsvd1";
			nvidia,pull = <TEGRA_PIN_PULL_DOWN>;
			nvidia,tristate = <TEGRA_PIN_DISABLE>;
			nvidia,enable-input = <TEGRA_PIN_DISABLE>;
		};
		cam_mclk_pcc0 {
			nvidia,pins = "cam_mclk_pcc0";
			nvidia,function = "vi_alt3";
			nvidia,pull = <TEGRA_PIN_PULL_UP>;
			nvidia,tristate = <TEGRA_PIN_DISABLE>;
			nvidia,enable-input = <TEGRA_PIN_DISABLE>;
		};
		sdio4 {
			nvidia,pins = "drive_gma", "drive_gmb", "drive_gmc", "drive_gmd";
			nvidia,pull-down-strength = <9>;
			nvidia,pull-up-strength = <9>;
			nvidia,slew-rate-rising = <TEGRA_PIN_SLEW_RATE_SLOWEST>;
			nvidia,slew-rate-falling = <TEGRA_PIN_SLEW_RATE_SLOWEST>;
		};
	};
};

/* USB via ASUS connector */
&usb1 {
	compatible = "nvidia,tegra30-udc";
	status = "okay";
	dr_mode = "peripheral";
};

&phy1 {
	status = "okay";
	nvidia,hssync-start-delay = <0>;
	nvidia,xcvr-lsfslew = <2>;
	nvidia,xcvr-lsrslew = <2>;
};

/* Dock's USB port */
&usb3 {
	status = "okay";
};

&phy3 {
	status = "okay";
};

&pinmux {
	pinctrl-names = "default";
	pinctrl-0 = <&state_default>;

	state_default: pinmux {
		/* Bluetooth */
		uart3 {
			nvidia,pins = "drive_uart3";
			nvidia,high-speed-mode = <TEGRA_PIN_DISABLE>;
			nvidia,schmitt = <TEGRA_PIN_ENABLE>;
			nvidia,pull-down-strength = <31>;
			nvidia,pull-up-strength = <31>;
			nvidia,slew-rate-rising = <TEGRA_PIN_SLEW_RATE_FASTEST>;
			nvidia,slew-rate-falling = <TEGRA_PIN_SLEW_RATE_FASTEST>;
		};
#if 0
		bt_wake {
			nvidia,pins = "pu6";
			nvidia,pull = <TEGRA_PIN_PULL_DOWN>;
			nvidia,tristate = <TEGRA_PIN_DISABLE>;
		};
#endif

		/* uSD slot */
		sdmmc1_clk_pz0 {
			nvidia,pins = "sdmmc1_clk_pz0";
			nvidia,function = "sdmmc1";
			nvidia,pull = <TEGRA_PIN_PULL_NONE>;
			nvidia,tristate = <TEGRA_PIN_DISABLE>;
			nvidia,enable-input = <TEGRA_PIN_ENABLE>;
		};
		sdmmc1_cmd_pz1 {
			nvidia,pins =	"sdmmc1_cmd_pz1",
					"sdmmc1_dat0_py7",
					"sdmmc1_dat1_py6",
					"sdmmc1_dat2_py5",
					"sdmmc1_dat3_py4";
			nvidia,function = "sdmmc1";
			nvidia,pull = <TEGRA_PIN_PULL_UP>;
			nvidia,tristate = <TEGRA_PIN_DISABLE>;
			nvidia,enable-input = <TEGRA_PIN_ENABLE>;
		};
		sdio1 {
			nvidia,pins = "drive_sdio1";
			nvidia,high-speed-mode = <TEGRA_PIN_ENABLE>;
			nvidia,schmitt = <TEGRA_PIN_DISABLE>;
			nvidia,pull-down-strength = <42>;
			nvidia,pull-up-strength = <46>;
			nvidia,slew-rate-rising = <TEGRA_PIN_SLEW_RATE_FAST>;
			nvidia,slew-rate-falling = <TEGRA_PIN_SLEW_RATE_FAST>;
		};

		/* WiFi */
		sdmmc3_clk_pa6 {
			nvidia,pins = "sdmmc3_clk_pa6";
			nvidia,function = "sdmmc3";
			nvidia,pull = <TEGRA_PIN_PULL_NONE>;
			nvidia,tristate = <TEGRA_PIN_DISABLE>;
		};
		sdmmc3_cmd_pa7 {
			nvidia,pins =	"sdmmc3_cmd_pa7",
					"sdmmc3_dat0_pb7",
					"sdmmc3_dat1_pb6",
					"sdmmc3_dat2_pb5",
					"sdmmc3_dat3_pb4",
					"sdmmc3_dat6_pd3",	// nRST
					"sdmmc3_dat7_pd4";	// nPWRDN
			nvidia,function = "sdmmc3";
			nvidia,pull = <TEGRA_PIN_PULL_UP>;
			nvidia,tristate = <TEGRA_PIN_DISABLE>;
		};
		sdio3 {
			nvidia,pins = "drive_sdio3";
			nvidia,high-speed-mode = <TEGRA_PIN_DISABLE>;
			nvidia,schmitt = <TEGRA_PIN_DISABLE>;
			nvidia,pull-down-strength = <46>;
			nvidia,pull-up-strength = <42>;
			nvidia,slew-rate-rising = <TEGRA_PIN_SLEW_RATE_FAST>;
			nvidia,slew-rate-falling = <TEGRA_PIN_SLEW_RATE_FAST>;
		};

		/* Pad buttons */
		pad_buttons {
			nvidia,pins =	"pv0"		/* power */,
					"kb_col2_pq2"	/* volup */,
					"kb_col3_pq3"	/* voldn */,
					"pu4"		/* dock detect */,
					"kb_row14_ps6"	/* hall sensor */,
					"spi2_cs1_n_pw2"/* hp-detect */,
					"gmi_iordy_pi5"	/* usd-card-detect */,
					"gmi_ad12_ph4"	/* touch-irq */;
			nvidia,pull = <TEGRA_PIN_PULL_UP>;
			nvidia,tristate = <TEGRA_PIN_ENABLE>;
			nvidia,enable-input = <TEGRA_PIN_ENABLE>;
		};

		/* ECs' lines */
		ec_irqs {
			nvidia,pins =	"kb_row10_ps2"	/* pad */,
					"kb_row15_ps7"	/* dock */;
			nvidia,pull = <TEGRA_PIN_PULL_UP>;
			nvidia,tristate = <TEGRA_PIN_ENABLE>;
			nvidia,enable-input = <TEGRA_PIN_ENABLE>;
		};
		ec_reqs {
			nvidia,pins =	"kb_col1_pq1"	/* pad req */,
					"kb_col6_pq6"	/* dock req */;
			nvidia,pull = <TEGRA_PIN_PULL_UP>;
			nvidia,tristate = <TEGRA_PIN_DISABLE>;
			nvidia,enable-input = <TEGRA_PIN_DISABLE>;
		};

		/* sound */
		codec_irq {
			nvidia,pins = "spi2_cs2_n_pw3";
			nvidia,pull = <TEGRA_PIN_PULL_UP>;
			nvidia,tristate = <TEGRA_PIN_ENABLE>;
			nvidia,enable-input = <TEGRA_PIN_ENABLE>;
		};

		/* misc */
		blink {
			nvidia,pins = "clk_32k_out_pa0";
			nbidia,function = "blink";
			nvidia,pull = <TEGRA_PIN_PULL_NONE>;
			nvidia,tristate = <TEGRA_PIN_DISABLE>;
		};

		/* USB charging control */
		usb_charge_limit_out {
			nvidia,pins = "kb_row1_pr1";
			nvidia,pull = <TEGRA_PIN_PULL_UP>;
			nvidia,tristate = <TEGRA_PIN_DISABLE>;
			nvidia,enable-input = <TEGRA_PIN_DISABLE>;
		};

		/* bootstraps */
		bootstraps {
			// TODO?: set out,no-pull for non-mf and in,pull-down for mf id pins below
			nvidia,pins =
				/* Cardhu PCBID */
				"gmi_cs2_n_pk3",
				"gmi_cs1_n_pj2",
				"gmi_cs0_n_pj0",
				"kb_col5_pq5",
				"kb_row2_pr2",
				"kb_col7_pq7",
				"kb_col4_pq4",
				"kb_row5_pr5",
				"kb_row4_pr4",
				/* panel-type: panasonic [for TF700T] */
//				"gmi_cs7_n_pi6",	//mf
				/* panel-type ID [for ME301T] */
				"gmi_a19_pk7",
				/* unused */
				"kb_row0_pr0",
				"gmi_a18_pb1";		//mf
			nvidia,tristate = <TEGRA_PIN_ENABLE>;
			nvidia,input-enable = <TEGRA_PIN_DISABLE>;
		};
#if 0
		ext_bootstraps {
			nvidia,pins =
				/* Cardhu PCBID extension */
//				"kb_row7_pr7",
				"gmi_a17_pb0",
				"gmi_a16_pj7",
				"gmi_wp_n_pc7",		//mf
				/* Cardhu ProjectID extension */
				"gmi_cs3_n_pk4",	//mf
				"gmi_wait_pi7",
				"gmi_cs6_n_pi3",
				"gmi_cs4_n_pk2";
			nvidia,tristate = <TEGRA_PIN_ENABLE>;
			nvidia,input-enable = <TEGRA_PIN_DISABLE>;
			nvidia,pull = <TEGRA_PIN_PULL_DOWN>;
		};
#endif

		/* Memory type bootstrap */
		mem_boostraps {
			nvidia,pins = "gmi_ad4_pg4", "gmi_ad5_pg5";
			nvidia,tristate = <TEGRA_PIN_ENABLE>;
			nvidia,pull = <TEGRA_PIN_PULL_NONE>;
			nvidia,input-enable = <TEGRA_PIN_ENABLE>;
		};

		/* GPIO power/drive control */
		slow_gpio_drive {
			nvidia,pins =	"drive_at1" /* PH0-7, PI5-6 */,
					"drive_at2" /* PG0-7, PK0-4, PI0-4, PI7 */,
					"drive_at3" /* PJ0, PC7 */,
					"drive_at4" /* PB0-1, PK7, PJ2, PJ7 */,
					"drive_ao1" /* PR0-7, PZ6-7 */,
					"drive_ao2" /* clk_32k_in, PA0, core_pwr_req, cpu_pwr_req, PQ0-7, PS0-7, pwr_int_n, PZ5 */;
			nvidia,high-speed-mode = <TEGRA_PIN_DISABLE>;
			nvidia,schmitt = <TEGRA_PIN_ENABLE>;
			nvidia,pull-down-strength = <31>;
			nvidia,pull-up-strength = <31>;
			nvidia,slew-rate-rising = <TEGRA_PIN_SLEW_RATE_FASTEST>;
			nvidia,slew-rate-falling = <TEGRA_PIN_SLEW_RATE_FASTEST>;
			nvidia,low-power-mode = <TEGRA_PIN_LP_DRIVE_DIV_8>;
		};

		/* unknown */
		unknowns_up {
			nvidia,pins =	"kb_row3_pr3",
					"kb_col0_pq0",
					"kb_row0_pr0",
					"vi_d11_pt3",
					"kb_row8_ps0" /* reg */,
					"sdmmc3_dat5_pd0" /* reg */,
					"sdmmc3_dat4_pd1" /* reg */,
					"vi_pclk_pt0" /* reg */,
					"gmi_rst_n_pi4",
					"gmi_cs7_n_pi6" /* strap */,
					"kb_row7_pr7" /* strap */;
			nvidia,pull = <TEGRA_PIN_PULL_UP>;
			nvidia,tristate = <TEGRA_PIN_ENABLE>;
			nvidia,enable-input = <TEGRA_PIN_ENABLE>;
		};
#if 0
		unknowns_down {
			nvidia,pins =	"gmi_ad15_ph7";
			nvidia,pull = <TEGRA_PIN_PULL_DOWN>;
			nvidia,tristate = <TEGRA_PIN_ENABLE>;
			nvidia,enable-input = <TEGRA_PIN_ENABLE>;
		};
#endif

		dap2_fs_pa2 {
			nvidia,pins =	"dap2_fs_pa2",
					"dap2_sclk_pa3",
					"dap2_din_pa4",
					"dap2_dout_pa5";
			nvidia,function = "i2s1";
			nvidia,pull = <TEGRA_PIN_PULL_NONE>;
			nvidia,tristate = <TEGRA_PIN_DISABLE>;
		};
	};
};

&mc {
	/* Elpida 1GB 667MHz */
	emc-timings@0 {
		nvidia,ram-code = <0>;
	};

	/* Hynix 1GB 667MHz */
	emc-timings@1 {
		nvidia,ram-code = <1>;

		timings@667000000 {
			clock-frequency = <667000000>;

			nvidia,emem-configuration = <
				0x00000014	/* MC_EMEM_ARB_CFG */
				0xc0000079	/* MC_EMEM_ARB_OUTSTANDING_REQ */
				0x00000003	/* MC_EMEM_ARB_TIMING_RCD */
				0x00000004	/* MC_EMEM_ARB_TIMING_RP */
				0x00000011	/* MC_EMEM_ARB_TIMING_RC */
				0x0000000b	/* MC_EMEM_ARB_TIMING_RAS */
				0x0000000a	/* MC_EMEM_ARB_TIMING_FAW */
				0x00000001	/* MC_EMEM_ARB_TIMING_RRD */
				0x00000003	/* MC_EMEM_ARB_TIMING_RAP2PRE */
				0x0000000b	/* MC_EMEM_ARB_TIMING_WAP2PRE */
				0x00000002	/* MC_EMEM_ARB_TIMING_R2R */
				0x00000002	/* MC_EMEM_ARB_TIMING_W2W */
				0x00000004	/* MC_EMEM_ARB_TIMING_R2W */
				0x00000008	/* MC_EMEM_ARB_TIMING_W2R */
				0x08040202	/* MC_EMEM_ARB_DA_TURNS */
				0x00140b11	/* MC_EMEM_ARB_DA_COVERS */
				0x70ea1f12	/* MC_EMEM_ARB_MISC0 */
				0x001f0000	/* MC_EMEM_ARB_RING1_THROTTLE */
			>;

			nvidia,emc-zcal-cnt-long = <0x00000040>; /* EMC_ZCAL_WAIT_CNT after clock change */
			nvidia,emc-zcal-interval = <0x001fffff>; /* EMC_AUTO_CAL_INTERVAL */
			nvidia,emc-cfg = <0x00000001>; /* EMC_CFG.PERIODIC_QRST */
			nvidia,emc-cfg-2 = <0x00000000>; /* EMC_CFG.DYN_SELF_REF */
			nvidia,emc-mode-reset = <0x80000b71>; /* Mode Register 0 */
			nvidia,emc-mode-1 = <0x80100002>; /* Mode Register 1 */
			nvidia,emc-mode-2 = <0x80200018>; /* Mode Register 2 */
		};
	};

	/* Micron 1GB 667MHz */
	emc-timings@2 {
		nvidia,ram-code = <2>;
	};
};
